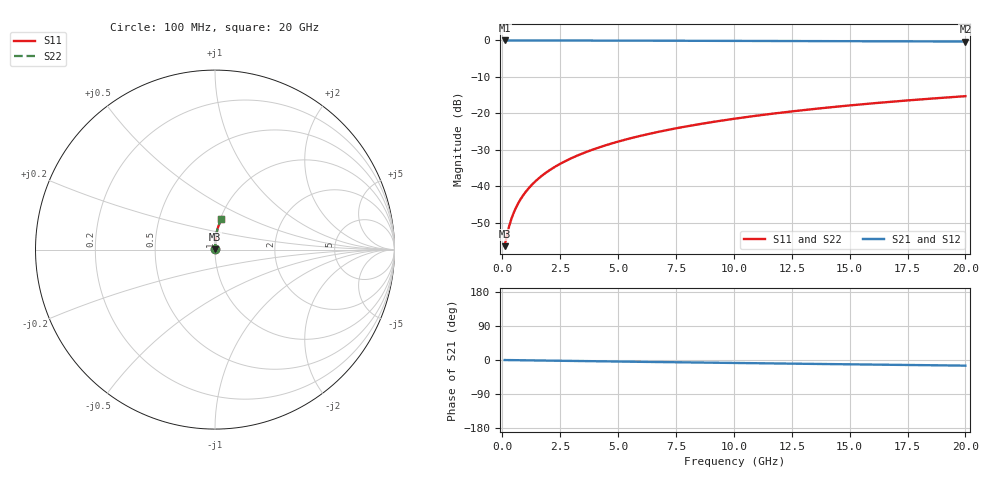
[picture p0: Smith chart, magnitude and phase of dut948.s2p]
! Touchstone file exported from HFSS 2024.1.0
!  File:  C:/UserFiles/LocalFiles/RDL_TSV_Batchsim/temp_RDL_top_948_1779937893.aedt
!  Generated:  11:14:20 AM May 28, 2026
!  Design:  RDL_top
!  Project:  temp_RDL_top_948_1779937893
!  Setup:  Setup1
!  Solution:  Sweep
! Variables:
!  dtsv = 10.80580581um
!  hbump = 3um
!  htsv = 98.02um
!  ldown = 100um
!  lrdl = 180.06um
!  p = 40
!  p1 = 43.13um
!  rhole = 1um
!  t = 450um
!  tdown = 3.915915916um
!  trdl = 3.58um
!  wdown = 15.38538539um
!  wrdl = 17.2um
# GHz S MA R 50.000000
! Terminal data exported
! Port[1] = Box2_T1
! Port[2] = Box2_T2
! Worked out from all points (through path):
!   200 points, 100 MHz to 20 GHz, reference 50 ohm
!   highest |S21| = -0.01 dB at 100 MHz (marker M1); lowest = -0.3 dB at 20 GHz (marker M2)
!   group delay of S21, straight-line fit = 2.05 ps
!   lowest |S11| = -56.5 dB at 100 MHz (marker M3), VSWR 1.00, Z = 50.1 + j0.0865 ohm
!   |S11| at or under -10 dB: start of sweep to end of sweep
!   |S22| runs from -56.5 to -15.3 dB; largest |S21 - S12| = 3.1e-15
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0.1  0.001499 35.1  0.9988 -0.1  0.9988 -0.1  0.001499 35.1
! Gamma 0 0 0 0
! Port Impedance 50 0 50 0
0.2  0.002124 53.5  0.9987 -0.2  0.9987 -0.2  0.002124 53.5
0.3  0.002849 62.7  0.9987 -0.3  0.9987 -0.3  0.002849 62.7
0.4  0.003601 68.1  0.9986 -0.3  0.9986 -0.3  0.003601 68.1
0.5  0.004363 71.6  0.9986 -0.4  0.9986 -0.4  0.004363 71.6
0.6  0.005131 74.2  0.9985 -0.5  0.9985 -0.5  0.005131 74.2
0.8  0.006682 77.6  0.9984 -0.7  0.9984 -0.7  0.006682 77.6
1.1  0.009036 80.6  0.9983 -0.9  0.9983 -0.9  0.009036 80.6
1.5  0.01221 82.9  0.9981 -1.2  0.9981 -1.2  0.01221 82.9
1.8  0.01461 84.0  0.9979 -1.5  0.9979 -1.5  0.01461 84.0
2.1  0.01702 84.7  0.9977 -1.7  0.9977 -1.7  0.01702 84.7
2.7  0.02186 85.7  0.9971 -2.2  0.9971 -2.2  0.02186 85.7
3.5  0.02839 86.4  0.9963 -2.9  0.9963 -2.9  0.02839 86.4
4.2  0.03416 86.7  0.9954 -3.4  0.9954 -3.4  0.03416 86.7
5  0.04083 86.8  0.9942 -4.1  0.9942 -4.1  0.04083 86.8
5.9  0.04842 86.8  0.9928 -4.8  0.9928 -4.8  0.04842 86.8
6.8  0.0561 86.6  0.9912 -5.4  0.9912 -5.4  0.0561 86.6
8.3  0.06906 86.1  0.9885 -6.6  0.9885 -6.6  0.06906 86.1
10.1  0.08482 85.2  0.9851 -7.9  0.9851 -7.9  0.08482 85.2
13.4  0.114 83.1  0.9788 -10.3  0.9788 -10.3  0.114 83.1
16.7  0.143 80.8  0.9723 -12.6  0.9723 -12.6  0.143 80.8
20  0.1717 78.3  0.9656 -14.9  0.9656 -14.9  0.1717 78.3
